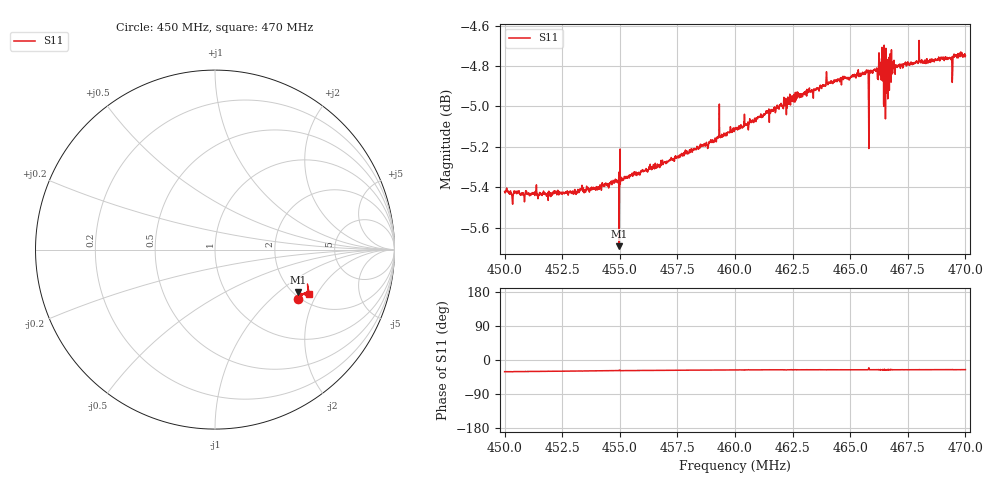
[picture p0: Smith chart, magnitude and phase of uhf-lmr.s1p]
! Calibrated averaged scanner-service zoom
# Hz S RI R 50
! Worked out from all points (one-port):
!   2001 points, 450 MHz to 470 MHz, reference 50 ohm
!   lowest |S11| = -5.7 dB at 454.97 MHz (marker M1), VSWR 3.16, Z = 106 - j68.6 ohm
!   |S11| at or under -10 dB: nowhere
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4.5e8  0.4601 -0.2745
4.503e8  0.46 -0.2729
4.5051e8  0.4614 -0.2724
4.525e8  0.4662 -0.2637
4.5479e8  0.4749 -0.2548
4.5497e8  0.4619 -0.2374
4.55e8  0.4758 -0.2528
4.5511e8  0.4763 -0.2539
4.575e8  0.4871 -0.248
4.6e8  0.4982 -0.245
4.6034e8  0.4987 -0.245
4.6064e8  0.5012 -0.2462
4.6222e8  0.5052 -0.2509
4.625e8  0.508 -0.2476
4.6405e8  0.5134 -0.2476
4.65e8  0.5149 -0.2482
4.6568e8  0.5162 -0.2491
4.6573e8  0.516 -0.2498
4.6589e8  0.5162 -0.2491
4.6594e8  0.5167 -0.249
4.6634e8  0.5173 -0.248
4.6641e8  0.5176 -0.2402
4.6658e8  0.5093 -0.2483
4.6662e8  0.5209 -0.2495
4.6671e8  0.5175 -0.2567
4.6681e8  0.5211 -0.2446
4.675e8  0.5194 -0.2499
4.7e8  0.5225 -0.249
